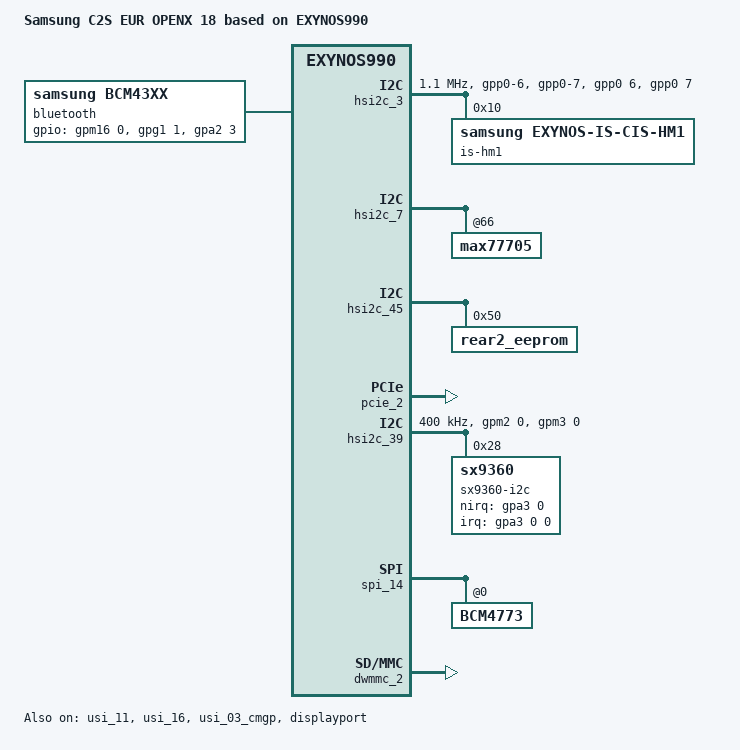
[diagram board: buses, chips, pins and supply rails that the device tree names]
/*
 * SAMSUNG EXYNOS990 board device tree source
 *
 * Copyright (c) 2019 Samsung Electronics Co., Ltd.
 *		http://www.samsung.com
 *
 * This program is free software; you can redistribute it and/or modify
 * it under the terms of the GNU General Public License version 2 as
 * published by the Free Software Foundation.
*/

/dts-v1/;
/plugin/;
#include "exynos990-c2s_pm_18.dtsi"
#include "exynos990-c2s_common.dtsi"
#include "exynos_gpio_config_macros.dtsi"
#include "exynos990-c2s_nfc_00.dtsi"
#include "../exynos/exynos9830-universal9830-cp-s5123-sipc.dtsi"
#include <dt-bindings/gpio/gpio.h>
#include "exynos9830-sensorhub_03.dtsi"
#include "exynos990-c2s_sensor_18.dtsi"
#include "exynos990-c2s_fingerprint_18.dtsi"
#include "battery_data_c2_18.dtsi"
#include "exynos990-c2s_uwb_16.dtsi"

#define BOARD_ID	0x10
#define BOARD_REV	0x0

/ {
	compatible = "samsung,C2S EUR OPENX 18", "samsung,EXYNOS990";
	dtbo-hw_rev = <18>;
	dtbo-hw_rev_end = <18>;
	edtbo-rev = <0>;

	fragment@model {
		target-path = "/";
		__overlay__ {
			#address-cells = <2>;
			#size-cells = <1>;

			model = "Samsung C2S EUR OPENX 18 based on EXYNOS990";

			acpm_ipc {
				compatible = "samsung,exynos-acpm-ipc";
				board-id = <BOARD_ID>;
				board-rev = <BOARD_REV>;
			};

			pinctrl@15850000 {
				bt_hostwake: bt-hostwake {
					samsung,pins = "gpa2-3";
					samsung,pin-function = <0xF>;
					samsung,pin-pud = <1>;
				};
			};

			pinctrl@10730000 {
				bt_btwake: bt-btwake {
					samsung,pins = "gpg1-1";
					samsung,pin-function = <1>;
					samsung,pin-pud = <0>;
					samsung,pin-con-pdn = <3>;
					samsung,pin-pud-pdn = <0>;
				};
			};

			pinctrl@15C30000 {
				bt_en: bt-en {
					samsung,pins = "gpm16-0";
					samsung,pin-function = <1>;
					samsung,pin-pud = <0>;
					samsung,pin-con-pdn = <3>;
					samsung,pin-pud-pdn = <0>;
				};
			};

			bluetooth {
				compatible = "samsung,bcm43xx";
				gpios = <&gpm16 0 GPIO_ACTIVE_HIGH    /*BT_EN*/
				&gpg1 1 GPIO_ACTIVE_HIGH    /*BT_WAKE*/
				&gpa2 3 GPIO_ACTIVE_HIGH    /*BT_HOST_WAKE*/ >;
				pinctrl-names = "default";
				pinctrl-0=<&bt_en &bt_hostwake &bt_btwake>;
				status = "okay";
			};
		}; /* end of __overlay__ */
	}; /* end of fragment */

	fragment@camera {
		target-path = "/";
		__overlay__ {
			/* REAR CAMERA */
			is_sensor_hm1: is_sensor_hm1@20 {
				mcu {
					product_name = <100>; /* NOTHING */
				};

				power_seq {
					scenario_normal_on {
						30 { pname = "VDDA_2.8V_CAM"; pin = <PIN_REGULATOR 1 0>; gpio;};
					};

					scenario_vision_on {
						30 { pname = "VDDA_2.8V_CAM"; pin = <PIN_REGULATOR 1 0>; gpio;};
					};

					scenario_hw_init_normal_on {
						/* HW INIT (without ois power control) */
						30 { pname = "VDDA_2.8V_CAM"; pin = <PIN_REGULATOR 1 0>; gpio;};
					};

					scenario_normal_off {
						40 { pname = "VDDA_2.8V_CAM"; pin = <PIN_REGULATOR 0 0>; gpio;};
					};

					scenario_vision_off {
						40 { pname = "VDDA_2.8V_CAM"; pin = <PIN_REGULATOR 0 0>; gpio;};
					};

					scenario_ois_factory_on {
						80 { pname = "VDDIO_1.8V_SUB"; pin = <PIN_REGULATOR 1 0>; }; /* CAMERA_REAR2_AF */
					};

					scenario_ois_factory_off {
						80 { pname = "VDDIO_1.8V_SUB"; pin = <PIN_REGULATOR 0 0>; }; /* CAMERA_REAR2_AF */
					};

					scenario_read_rom_on {
						20 { pname = "VDDIO_1.8V_SUB"; pin = <PIN_REGULATOR 1 1000>; };
					};

					scenario_read_rom_off {
						20 { pname = "VDDIO_1.8V_SUB"; pin = <PIN_REGULATOR 0 1000>; };
					};
				};
			};

			/* Tele CAMERA */
			is_sensor_3m5: is_sensor_3m5@5A {
				mcu {
					product_name = <100>; /* NOTHING */
				};

				power_seq {
					scenario_normal_on {
						10 { pname = "VDDA_2.8V_SUB"; pin = <PIN_REGULATOR 1 0>; gpio;};
						60 { pname = "VDDIO_1.8V_SUB"; pin = <PIN_REGULATOR 1 100>; };
					};

					scenario_normal_off {
						50 { pname = "VDDIO_1.8V_SUB"; pin = <PIN_REGULATOR 0 0>; };
						80 { pname = "VDDA_2.8V_SUB"; pin = <PIN_REGULATOR 0 0>; gpio;};
					};

					scenario_vision_on {
						10 { pname = "VDDA_2.8V_SUB"; pin = <PIN_REGULATOR 1 0>; gpio;};
						60 { pname = "VDDIO_1.8V_SUB"; pin = <PIN_REGULATOR 1 100>; };
					};

					scenario_vision_off {
						50 { pname = "VDDIO_1.8V_SUB"; pin = <PIN_REGULATOR 0 0>; };
						70 { pname = "VDDA_2.8V_SUB"; pin = <PIN_REGULATOR 0 0>; gpio;};
					};

					scenario_read_rom_on {
						10 { pname = "VDDIO_1.8V_SUB"; pin = <PIN_REGULATOR 1 1000>; };
					};

					scenario_read_rom_off {
						10 { pname = "VDDIO_1.8V_SUB"; pin = <PIN_REGULATOR 0 1000>; };
					};
				};
			};
		}; /* end of __overlay__ */
	}; /* end of fragment */

	fragment@modemif {
		target-path = "/";
		__overlay__ {
			cpif {
				status = "okay";

				pinctrl-names = "default";
				pinctrl-0 = <&s5100_ap2cp_cp_pwr_on>,
					<&s5100_ap2cp_cp_nreset_n>,
					<&s5100_cp2ap_cp_ps_hold>,
					<&s5100_ap2cp_wakeup>,
					<&s5100_cp2ap_wakeup>,
					<&s5100_ap2cp_dump_noti>,
					<&s5100_ap2cp_pda_active>,
					<&s5100_cp2ap_phone_active>;
			};
		};
	};
}; /* end of root */

&panel_0 {
	/* reset, power */
	gpios = <&gpa3 4 0x1>;
};

&pinctrl_0 {
	conn_det_ctrl: conn-det-ctrl {
		samsung,pins = "gpa0-0";
		samsung,pin-pud = <0>;
	};
};

&panel_drv_0 {
	pinctrl-0 = <&disp_det_ctrl &disp_te_ctrl &conn_det_ctrl>;
	gpios {
		conn-det {
			name = "conn-det";
			gpios = <&gpa0 0 0>; 		/* 0:NOK(active) 1:OK */
			dir = <1>;  				/* IN */
			irq-type = <0x00002001>;	/* RISING EDGE | ONE_SHOT */
		};
	};
};

&chosen {
	bootargs_ext = "root=/dev/ram0 androidboot.boot_devices=13100000.ufs sec_debug.cp=0";
};

&usi_11 {
	usi_v2_mode = "i2c";
	status = "okay";
};

&usi_16 {
	usi_v2_mode = "spi";
	status = "okay";
};

&usi_03_cmgp {
	usi_v2_mode = "i2c";
	status = "okay";
};

&hsi2c_3 {
	#address-cells = <1>;
	#size-cells = <0>;
	gpios = <&gpp0 6 0 &gpp0 7 0>;
	status = "okay";
	clock-frequency = <1100000>;
	samsung,tscl-h = <0xF0>;
	samsung,tscl-l = <0x7>;
	samsung,reset-before-trans;
	samsung,fast-plus-mode;

	pinctrl-names = "default","on_i2c","off_i2c";
	pinctrl-0 = <&hsi2c3_bus_in>;
	pinctrl-1 = <&hsi2c3_bus>;
	pinctrl-2 = <&hsi2c3_bus_in>;

	is-hm1@10 {
		compatible = "samsung,exynos-is-cis-hm1";
		reg = <0x10>; /* 1 bit right shift */
		id = <0>; /* matching is_sensor id */
		setfile = "default";
		rev_reg = <0x0002 2 0xA101>;
	};
};

&hsi2c_7 {
	max77705@66 {
		max77705,extra_fw_enable = <0>;
	};
};

&hsi2c_13 {
	status = "disabled";
};

&hsi2c_45 {
	rear2_eeprom@51 {
		reg = <0x50>;
	};
};

&pinctrl_1 {
	hsi2c44_bus: hsi2c44-bus {
		samsung,pins = "gpm12-0", "gpm13-0";
		samsung,pin-function = <2>;
		samsung,pin-pud = <0>;
		samsung,pin-drv = <0>;
	};
};

&pinctrl_4 {
	/* REAR WIDE */
	hsi2c3_bus_in: hsi2c3-bus-in {
		samsung,pins = "gpp0-6", "gpp0-7";
		samsung,pin-function = <0>;
		samsung,pin-pud = <0>;
		samsung,pin-drv = <0>;
	};
};

&pinctrl_5 {
	aux_oe: aux-oe {
		samsung,pins = "gpp6-2";
		samsung,pin-function = <1>;
		samsung,pin-pud = <0>;
		samsung,pin-con-pdn = <3>;
		samsung,pin-pud-pdn = <0>;
		};

	sbu_sel: sbu-sel {
		samsung,pins = "gpp6-1";
		samsung,pin-function = <1>;
		samsung,pin-pud = <0>;
		samsung,pin-con-pdn = <3>;
		samsung,pin-pud-pdn = <0>;
		};
};

&displayport {
	status = "okay";
	dp,aux_sw_oe = <&gpp6 2 0>;
	dp,sbu_sw_sel = <&gpp6 1 0>;
	dp,usb_con_sel = <&gpm26 0 0>;

	pinctrl-names = "default";
	pinctrl-0 = <&aux_oe &sbu_sel>;
};

&pcie_2 {
	status = "okay";
	chip-ver = <1>;
	use-sysmmu = "false";
	use-cache-coherency = "true";
	use-msi = "true";
	use-pcieon-sleep = "true";
	phy-power-off = "false";
	ep-device-type = <EP_SAMSUNG_MODEM>;
	ep-device-name = "MODEM";
};

&ufs {
	/* board type for UFS CAL */
	evt-ver = /bits/ 8 <1>;
};

&tsp_lsi {
	sec,select_lcdid = <0x810440 0x810450 0x810451 0x810452>;
	sec,firmware_name = "tsp_sec/y79a_c2_6layer.bin", "tsp_sec/y79a_c2_6layer.bin", "tsp_sec/y79a_c2_4layer.bin", "tsp_sec/y79a_c2_4layer.bin";
	/delete-property/ support_vrr;
};

&wacom {
	wacom,fw_path = "epen/w9020_c2_dv1.bin";
	wacom,bringup = <3>;	// force update
	wacom,support_garage_open_test = <0>;

	/* for main spec */
	wacom_elec0 {
		spec_ver = <1 0>; /* major minor */
		max_channel = <25 12>; /* x y */
		shift_value = <4>;

		xx_ref = /bits/ 64 <3911 3943 3391 3391 3398 3466 3599 3672 3651 3734 3750 3757 3693 3785 3937 4021 4032 4068 4053 4046 3943 4032 4264 5179 5199>;
		xy_ref = /bits/ 64 <533 768 574 528 527 513 501 510 510 513 517 516 517 521 525 532 542 515 512 499 495 522 585 884 695>;
		yx_ref = /bits/ 64 <676 904 573 571 545 526 628 585 571 608 887 678>;
		yy_ref = /bits/ 64 <4894 4886 2938 2825 2828 2922 2795 2753 2794 2755 4848 4839>;

		xx_spec = /bits/ 64 <15000 15000 15000 15000 15000 15000 15000 15000 15000 15000 15000 15000 15000 15000 15000 15000 15000 15000 15000 15000 15000 15000 15000 15000 15000>;
		xy_spec = /bits/ 64 <5000 5000 5000 5000 5000 5000 5000 5000 5000 5000 5000 5000 5000 5000 5000 5000 5000 5000 5000 5000 5000 5000 5000 5000 5000>;
		yx_spec = /bits/ 64 <5000 5000 5000 5000 5000 5000 5000 5000 5000 5000 5000 5000>;
		yy_spec = /bits/ 64 <15000 15000 15000 15000 15000 15000 15000 15000 15000 15000 15000 15000>;

		rxx_ref = /bits/ 64 <10000 10000 10000 10000 10000 10000 10000 10000 10000 10000 10000 10000 10000 10000 10000 10000 10000 10000 10000 10000 10000 10000 10000 10000 10000>;
		rxy_ref = /bits/ 64 <10000 10000 10000 10000 10000 10000 10000 10000 10000 10000 10000 10000 10000 10000 10000 10000 10000 10000 10000 10000 10000 10000 10000 10000 10000>;
		ryx_ref = /bits/ 64 <10000 10000 10000 10000 10000 10000 10000 10000 10000 10000 10000 10000>;
		ryy_ref = /bits/ 64 <10000 10000 10000 10000 10000 10000 10000 10000 10000 10000 10000 10000>;

		drxx_spec = /bits/ 64 <10000 10000 10000 10000 10000 10000 10000 10000 10000 10000 10000 10000 10000 10000 10000 10000 10000 10000 10000 10000 10000 10000 10000 10000 10000>;
		drxy_spec = /bits/ 64 <10000 10000 10000 10000 10000 10000 10000 10000 10000 10000 10000 10000 10000 10000 10000 10000 10000 10000 10000 10000 10000 10000 10000 10000 10000>;
		dryx_spec = /bits/ 64 <10000 10000 10000 10000 10000 10000 10000 10000 10000 10000 10000 10000>;
		dryy_spec = /bits/ 64 <10000 10000 10000 10000 10000 10000 10000 10000 10000 10000 10000 10000>;
	};

	/* for unit spec */
	wacom_elec1 {
		spec_ver = <1 0>; /* major minor */
		max_channel = <25 12>; /* x y */
		shift_value = <4>;

		xx_ref = /bits/ 64 <3911 3943 3391 3391 3398 3466 3599 3672 3651 3734 3750 3757 3693 3785 3937 4021 4032 4068 4053 4046 3943 4032 4264 5179 5199>;
		xy_ref = /bits/ 64 <533 768 574 528 527 513 501 510 510 513 517 516 517 521 525 532 542 515 512 499 495 522 585 884 695>;
		yx_ref = /bits/ 64 <676 904 573 571 545 526 628 585 571 608 887 678>;
		yy_ref = /bits/ 64 <4894 4886 2938 2825 2828 2922 2795 2753 2794 2755 4848 4839>;

		xx_spec = /bits/ 64 <15000 15000 15000 15000 15000 15000 15000 15000 15000 15000 15000 15000 15000 15000 15000 15000 15000 15000 15000 15000 15000 15000 15000 15000 15000>;
		xy_spec = /bits/ 64 <5000 5000 5000 5000 5000 5000 5000 5000 5000 5000 5000 5000 5000 5000 5000 5000 5000 5000 5000 5000 5000 5000 5000 5000 5000>;
		yx_spec = /bits/ 64 <5000 5000 5000 5000 5000 5000 5000 5000 5000 5000 5000 5000>;
		yy_spec = /bits/ 64 <15000 15000 15000 15000 15000 15000 15000 15000 15000 15000 15000 15000>;

		rxx_ref = /bits/ 64 <10000 10000 10000 10000 10000 10000 10000 10000 10000 10000 10000 10000 10000 10000 10000 10000 10000 10000 10000 10000 10000 10000 10000 10000 10000>;
		rxy_ref = /bits/ 64 <10000 10000 10000 10000 10000 10000 10000 10000 10000 10000 10000 10000 10000 10000 10000 10000 10000 10000 10000 10000 10000 10000 10000 10000 10000>;
		ryx_ref = /bits/ 64 <10000 10000 10000 10000 10000 10000 10000 10000 10000 10000 10000 10000>;
		ryy_ref = /bits/ 64 <10000 10000 10000 10000 10000 10000 10000 10000 10000 10000 10000 10000>;

		drxx_spec = /bits/ 64 <10000 10000 10000 10000 10000 10000 10000 10000 10000 10000 10000 10000 10000 10000 10000 10000 10000 10000 10000 10000 10000 10000 10000 10000 10000>;
		drxy_spec = /bits/ 64 <10000 10000 10000 10000 10000 10000 10000 10000 10000 10000 10000 10000 10000 10000 10000 10000 10000 10000 10000 10000 10000 10000 10000 10000 10000>;
		dryx_spec = /bits/ 64 <10000 10000 10000 10000 10000 10000 10000 10000 10000 10000 10000 10000>;
		dryy_spec = /bits/ 64 <10000 10000 10000 10000 10000 10000 10000 10000 10000 10000 10000 10000>;
	};
};

&hsi2c_39 { /* 15D10000 */
	#address-cells = <1>;
	#size-cells = <0>;
	gpios = <&gpm2 0 0 &gpm3 0 0>;
	status = "okay";
	clock-frequency = <400000>;

	pinctrl-names = "default";
	pinctrl-0 = <&grip_i2c>;

	sx9360-i2c@28 {
		compatible = "sx9360";
		reg = <0x28>;
		status = "okay";
		pinctrl-names = "default";
		pinctrl-0 = <&grip_irq>;
		interrupt-parent = <&gpa3>;
		interrupts = <0 0 0>;

		sx9360,nirq-gpio = <&gpa3 0 0>;
		sx9360,refresolution_reg = <0x0f>; /* same as resolution_reg */
		sx9360,refagainfreq_reg = <0x36>; /* same as againfreq_reg */
		sx9360,resolution_reg = <0x0f>; /* resolution : 1024 */
		sx9360,againfreq_reg = <0x31>; /* freq : 200 kHz, again : +/-5.25 pF */
		sx9360,refgainrawfilt_reg = <0x22>; /* same as gainrawfilt_reg */
		sx9360,gainrawfilt_reg = <0x22>; /* rawfilter : 1-1/4, gain : x8 */
		sx9360,hyst_reg = <0x15>; /* hysteresis : +/-6 %, debouncer : 2 samples */
		sx9360,proxthresh_reg = <0x3E>; /* threshhold : 1922 */
		sx9360,hallic_cert_detect = <1>;
	};
};

&spi_14 {
	BCM4773@0 {
		ssp-acc-position = <7>;
		ssp-mag-position = <4>;
		ssp-mag-array = /bits/ 8 <239 84 91 119 234 27 249 175 213 52 239 162 60 172 2 188 249 233 26 83 187 254 100 43 4 13 127>;
		ssp-thermi-up = /bits/ 16 <3244 3216 3177 3127 3063 2987 2893 2785 2663 2522 2364 2191 2019 1841 1664 1492 1325 1165 1024 894 772 658 579>;
		ssp-thermi-sub = /bits/ 16 <4095 4095 4095 4026 3810 3566 3300 3013 2725 2438 2142 1871 1626 1402 1202 1030 874 744 631 535 453 385 331>;
	};
};

/* ----------------------------------------------------------------------------
 * Configurations for GPIOs without Device Driver
 * Note: Do NOT add pins using by device drivers to the configuration below
 * ----------------------------------------------------------------------------
 */
/*
 * pin banks of exynos9830 pin-controller 0 (ALIVE) : pinctrl@15850000
 * GPA0, GPA1, GPA2, GPA3, GPA4
 * GPQ0
 */
&pinctrl_0 {
	pinctrl-names = "default";
	pinctrl-0 = <&initial0>;
	initial0: initial-state {
		PIN_IN(gpa2-1, NONE);			/* HALL_INT3 */
		PIN_IN(gpq0-6, DOWN);			/* XSPEEDY_DCXO */
	};
};

/*
 * pin banks of exynos9830 pin-controller 2 (HSI1) : pinctrl@13040000
 * GPF0, GPF1, GPF2
 */
&pinctrl_2 {
        pinctrl-names = "default";
        pinctrl-0 = <&initial2>;
        initial2: initial-state {
                PIN_IN_SLP(gpf0-2, NONE, INPUT, NONE);	/* MASTER_VER_1_AP */
                PIN_IN_SLP(gpf0-3, NONE, INPUT, NONE);	/* MASTER_VER_2_AP */
                PIN_IN_SLP(gpf2-2, NONE, INPUT, NONE);	/* SLAVE_CHK_2 */
        };
};

/*
 * pin banks of exynos9830 pin-controller 4 (PERIC0) : pinctrl@10430000
 * GPP0, GPP1, GPP2, GPP3, GPP4
 * GPG0
 */
&pinctrl_4 {
	pinctrl-names = "default";
	pinctrl-0 = <&initial4>;
	initial4: initial-state {
		PIN_IN_SLP(gpp2-4, NONE, INPUT, NONE);
		PIN_IN_SLP(gpp2-5, NONE, INPUT, NONE);	/* SUB_VER_2 */
	};
};

/*
 * pin banks of exynos9830 pin-controller 5 (PERIC1) : pinctrl@10730000
 * GPP5, GPP6, GPP7, GPP8, GPP9
 * GPC0
 * GPG1
 * GPB0, GPB1, GPB2
 */
&pinctrl_5 {
	pinctrl-names = "default";
	pinctrl-0 = <&initial5>;
	initial5: initial-state {
		PIN_IN_SLP(gpp5-0, NONE, INPUT, NONE);	/* MEM_SCL_1P8 */
		PIN_IN_SLP(gpp5-1, NONE, INPUT, NONE);	/* MEM_SDA_1P8 */
		PIN_IN_SLP(gpp5-5, NONE, INPUT, NONE);	/* HW_REV_M */
		PIN_IN_SLP(gpb0-0, NONE, INPUT, NONE);	/* INTERPOSER_DET_R_2 */
		PIN_IN_SLP(gpb0-1, NONE, INPUT, NONE);	/* INTERPOSER_DET_R_1 */
		PIN_IN_SLP(gpb0-2, NONE, INPUT, NONE);	/* INTERPOSER_DET_L_1 */
		PIN_IN_SLP(gpb0-3, NONE, INPUT, NONE);	/* INTERPOSER_DET_L_2 */
		PIN_IN_SLP(gpb2-7, NONE, INPUT, NONE);	/* SLAVE_CHK_1 */
	};
};

&mipi_phy_csis0_m0s4s4s4s4s4s2 {
	ldo0;
	ldo1;
};

&mipi_phy_csis1_m0s4s4s4s4s4s2 {
	ldo0;
	ldo1;
};

&mipi_phy_csis2_m0s4s4s4s4s4s2 {
	ldo0;
	ldo1;
};

&mipi_phy_csis3_m0s4s4s4s4s4s2 {
	ldo0;
	ldo1;
};

&mipi_phy_csis4_m0s4s4s4s4s4s2 {
	ldo0;
	ldo1;
};

&mipi_phy_csis5_m0s4s4s4s4s4s2 {
	ldo0;
	ldo1;
};

&dwmmc_2 {
	status = "okay";
};

&exynos_is {
	vender {
		ois_gyro_list = <0x00 0x01 0x01 0x01 0x00>;
	};
};
